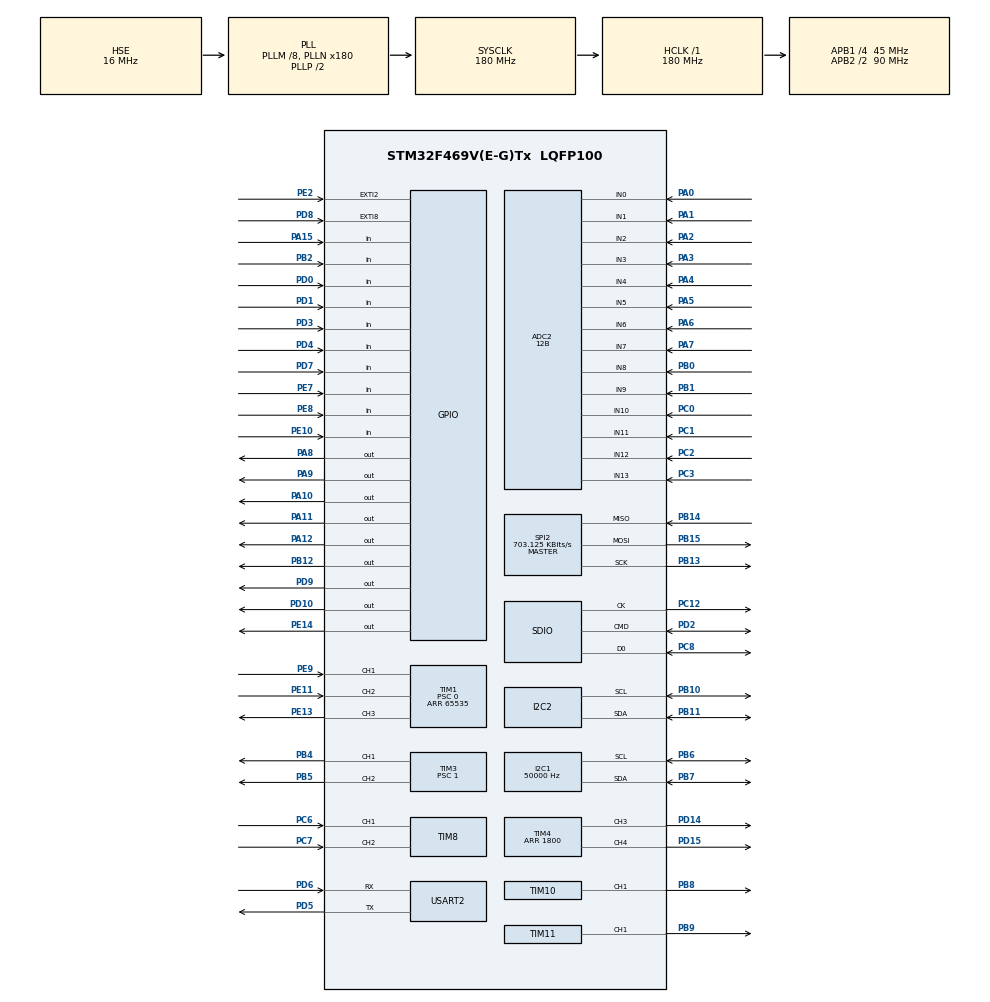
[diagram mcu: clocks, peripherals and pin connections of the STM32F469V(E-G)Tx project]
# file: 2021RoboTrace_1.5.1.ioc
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ADC2.Channel-0\#ChannelRegularConversion=ADC_CHANNEL_10
ADC2.Channel-1\#ChannelRegularConversion=ADC_CHANNEL_11
ADC2.Channel-10\#ChannelRegularConversion=ADC_CHANNEL_6
ADC2.Channel-11\#ChannelRegularConversion=ADC_CHANNEL_7
ADC2.Channel-12\#ChannelRegularConversion=ADC_CHANNEL_8
ADC2.Channel-13\#ChannelRegularConversion=ADC_CHANNEL_9
ADC2.Channel-2\#ChannelRegularConversion=ADC_CHANNEL_12
ADC2.Channel-3\#ChannelRegularConversion=ADC_CHANNEL_13
ADC2.Channel-4\#ChannelRegularConversion=ADC_CHANNEL_0
ADC2.Channel-5\#ChannelRegularConversion=ADC_CHANNEL_1
ADC2.Channel-6\#ChannelRegularConversion=ADC_CHANNEL_2
ADC2.Channel-7\#ChannelRegularConversion=ADC_CHANNEL_3
ADC2.Channel-8\#ChannelRegularConversion=ADC_CHANNEL_4
ADC2.Channel-9\#ChannelRegularConversion=ADC_CHANNEL_5
ADC2.ClockPrescaler=ADC_CLOCK_SYNC_PCLK_DIV4
ADC2.ContinuousConvMode=ENABLE
ADC2.DMAContinuousRequests=ENABLE
ADC2.NbrOfConversion=14
ADC2.NbrOfConversionFlag=1
ADC2.Rank-0\#ChannelRegularConversion=1
ADC2.Rank-1\#ChannelRegularConversion=2
ADC2.Rank-10\#ChannelRegularConversion=11
ADC2.Rank-11\#ChannelRegularConversion=12
ADC2.Rank-12\#ChannelRegularConversion=13
ADC2.Rank-13\#ChannelRegularConversion=14
ADC2.Rank-2\#ChannelRegularConversion=3
ADC2.Rank-3\#ChannelRegularConversion=4
ADC2.Rank-4\#ChannelRegularConversion=5
ADC2.Rank-5\#ChannelRegularConversion=6
ADC2.Rank-6\#ChannelRegularConversion=7
ADC2.Rank-7\#ChannelRegularConversion=8
ADC2.Rank-8\#ChannelRegularConversion=9
ADC2.Rank-9\#ChannelRegularConversion=10
ADC2.Resolution=ADC_RESOLUTION_12B
ADC2.SamplingTime-0\#ChannelRegularConversion=ADC_SAMPLETIME_144CYCLES
ADC2.SamplingTime-1\#ChannelRegularConversion=ADC_SAMPLETIME_144CYCLES
ADC2.SamplingTime-10\#ChannelRegularConversion=ADC_SAMPLETIME_144CYCLES
ADC2.SamplingTime-11\#ChannelRegularConversion=ADC_SAMPLETIME_144CYCLES
ADC2.SamplingTime-12\#ChannelRegularConversion=ADC_SAMPLETIME_144CYCLES
ADC2.SamplingTime-13\#ChannelRegularConversion=ADC_SAMPLETIME_144CYCLES
ADC2.SamplingTime-2\#ChannelRegularConversion=ADC_SAMPLETIME_144CYCLES
ADC2.SamplingTime-3\#ChannelRegularConversion=ADC_SAMPLETIME_144CYCLES
ADC2.SamplingTime-4\#ChannelRegularConversion=ADC_SAMPLETIME_144CYCLES
ADC2.SamplingTime-5\#ChannelRegularConversion=ADC_SAMPLETIME_144CYCLES
ADC2.SamplingTime-6\#ChannelRegularConversion=ADC_SAMPLETIME_144CYCLES
ADC2.SamplingTime-7\#ChannelRegularConversion=ADC_SAMPLETIME_144CYCLES
ADC2.SamplingTime-8\#ChannelRegularConversion=ADC_SAMPLETIME_144CYCLES
ADC2.SamplingTime-9\#ChannelRegularConversion=ADC_SAMPLETIME_144CYCLES
Dma.ADC2.2.Direction=DMA_PERIPH_TO_MEMORY
Dma.ADC2.2.FIFOMode=DMA_FIFOMODE_DISABLE
Dma.ADC2.2.Instance=DMA2_Stream2
Dma.ADC2.2.MemDataAlignment=DMA_MDATAALIGN_HALFWORD
Dma.ADC2.2.MemInc=DMA_MINC_ENABLE
Dma.ADC2.2.Mode=DMA_CIRCULAR
Dma.ADC2.2.PeriphDataAlignment=DMA_PDATAALIGN_HALFWORD
Dma.ADC2.2.PeriphInc=DMA_PINC_DISABLE
Dma.ADC2.2.Priority=DMA_PRIORITY_MEDIUM
Dma.Request0=SDIO_RX
Dma.Request1=SDIO_TX
Dma.Request2=ADC2
Dma.SDIO_RX.0.Direction=DMA_PERIPH_TO_MEMORY
Dma.SDIO_RX.0.FIFOMode=DMA_FIFOMODE_ENABLE
Dma.SDIO_RX.0.FIFOThreshold=DMA_FIFO_THRESHOLD_FULL
Dma.SDIO_RX.0.Instance=DMA2_Stream3
Dma.SDIO_RX.0.MemBurst=DMA_MBURST_INC4
Dma.SDIO_RX.0.MemDataAlignment=DMA_MDATAALIGN_WORD
Dma.SDIO_RX.0.MemInc=DMA_MINC_ENABLE
Dma.SDIO_RX.0.Mode=DMA_PFCTRL
Dma.SDIO_RX.0.PeriphBurst=DMA_PBURST_INC4
Dma.SDIO_RX.0.PeriphDataAlignment=DMA_PDATAALIGN_WORD
Dma.SDIO_RX.0.PeriphInc=DMA_PINC_DISABLE
Dma.SDIO_RX.0.Priority=DMA_PRIORITY_VERY_HIGH
Dma.SDIO_TX.1.Direction=DMA_MEMORY_TO_PERIPH
Dma.SDIO_TX.1.FIFOMode=DMA_FIFOMODE_ENABLE
Dma.SDIO_TX.1.FIFOThreshold=DMA_FIFO_THRESHOLD_FULL
Dma.SDIO_TX.1.Instance=DMA2_Stream6
Dma.SDIO_TX.1.MemBurst=DMA_MBURST_INC4
Dma.SDIO_TX.1.MemDataAlignment=DMA_MDATAALIGN_WORD
Dma.SDIO_TX.1.MemInc=DMA_MINC_ENABLE
Dma.SDIO_TX.1.Mode=DMA_PFCTRL
Dma.SDIO_TX.1.PeriphBurst=DMA_PBURST_INC4
Dma.SDIO_TX.1.PeriphDataAlignment=DMA_PDATAALIGN_WORD
Dma.SDIO_TX.1.PeriphInc=DMA_PINC_DISABLE
Dma.SDIO_TX.1.Priority=DMA_PRIORITY_VERY_HIGH
FATFS.BSP.number=1
FATFS.USE_DMA_CODE_SD=1
FATFS._FS_NORTC=1
FATFS._FS_RPATH=1
FATFS._FS_TIMEOUT=100
FATFS._MAX_SS=4096
FATFS._MIN_SS=512
FATFS._NORTC_MDAY=10
FATFS._NORTC_MON=10
FATFS._NORTC_YEAR=1999
FATFS._USE_CHMOD=1
FATFS._USE_LFN=1
FATFS._USE_MKFS=0
FATFS._USE_STRFUNC=1
FATFS0.BSP.STBoard=false
FATFS0.BSP.api=Unknown
FATFS0.BSP.i2caddr=0
FATFS0.BSP.instance=PA15
FATFS0.BSP.ip=GPIO
FATFS0.BSP.mode=Input
FATFS0.BSP.name=Detect_SDIO
FATFS0.BSP.solution=PA15
I2C1.ClockSpeed=50000
I2C1.NoStretchMode=I2C_NOSTRETCH_ENABLE
I2C2.NoStretchMode=I2C_NOSTRETCH_ENABLE
Mcu.Family=STM32F4
Mcu.Name=STM32F469V(E-G)Tx
Mcu.Package=LQFP100
NVIC.DMA2_Stream2_IRQn=true\:0\:0\:false\:false\:true\:false\:true
NVIC.DMA2_Stream3_IRQn=true\:0\:0\:false\:false\:true\:false\:true
NVIC.DMA2_Stream6_IRQn=true\:0\:0\:false\:false\:true\:false\:true
NVIC.EXTI2_IRQn=true\:0\:0\:false\:false\:true\:true\:true
NVIC.EXTI9_5_IRQn=true\:0\:0\:false\:false\:true\:true\:true
NVIC.I2C1_ER_IRQn=true\:0\:0\:false\:false\:true\:true\:true
NVIC.I2C1_EV_IRQn=true\:0\:0\:false\:false\:true\:true\:true
NVIC.PriorityGroup=NVIC_PRIORITYGROUP_4
NVIC.SDIO_IRQn=true\:0\:0\:false\:false\:true\:true\:true
NVIC.TIM6_DAC_IRQn=true\:1\:0\:true\:false\:true\:true\:true
NVIC.TIM7_IRQn=true\:0\:0\:false\:false\:true\:true\:true
NVIC.TIM8_UP_TIM13_IRQn=true\:0\:0\:false\:false\:true\:true\:true
PA0/WKUP.Signal=ADCx_IN0
PA1.Signal=ADCx_IN1
PA10.Signal=GPIO_Output
PA11.Signal=GPIO_Output
PA12.Signal=GPIO_Output
PA13.Mode=Trace_Asynchronous_SW
PA13.Signal=SYS_JTMS-SWDIO
PA14.Mode=Trace_Asynchronous_SW
PA14.Signal=SYS_JTCK-SWCLK
PA15.GPIO_Mode=GPIO_MODE_INPUT
PA15.Signal=GPIO_Input
PA2.Signal=ADCx_IN2
PA3.Signal=ADCx_IN3
PA4.Signal=ADCx_IN4
PA5.Signal=ADCx_IN5
PA6.Signal=ADCx_IN6
PA7.Signal=ADCx_IN7
PA8.Signal=GPIO_Output
PA9.Signal=GPIO_Output
PB0.Signal=ADCx_IN8
PB1.Signal=ADCx_IN9
PB10.Mode=I2C
PB10.Signal=I2C2_SCL
PB11.Mode=I2C
PB11.Signal=I2C2_SDA
PB12.Signal=GPIO_Output
PB13.Mode=Full_Duplex_Master
PB13.Signal=SPI2_SCK
PB14.Mode=Full_Duplex_Master
PB14.Signal=SPI2_MISO
PB15.Mode=Full_Duplex_Master
PB15.Signal=SPI2_MOSI
PB2/BOOT1.GPIO_PuPd=GPIO_PULLUP
PB2/BOOT1.Signal=GPIO_Input
PB3.Mode=Trace_Asynchronous_SW
PB3.Signal=SYS_JTDO-SWO
PB4.Signal=S_TIM3_CH1
PB5.Signal=S_TIM3_CH2
PB6.Mode=I2C
PB6.Signal=I2C1_SCL
PB7.Mode=I2C
PB7.Signal=I2C1_SDA
PB8.Signal=S_TIM10_CH1
PB9.Signal=S_TIM11_CH1
PC0.Signal=ADCx_IN10
PC1.Signal=ADCx_IN11
PC10.Signal=SDIO_D2
PC11.Signal=SDIO_D3
PC12.Mode=SD_1_bit
PC12.Signal=SDIO_CK
PC2.Signal=ADCx_IN12
PC3.Signal=ADCx_IN13
PC6.Signal=S_TIM8_CH1
PC7.Signal=S_TIM8_CH2
PC8.Mode=SD_1_bit
PC8.Signal=SDIO_D0
PC9.Signal=SDIO_D1
PD0.GPIO_PuPd=GPIO_PULLUP
PD0.Signal=GPIO_Input
PD1.GPIO_PuPd=GPIO_PULLUP
PD1.Signal=GPIO_Input
PD10.GPIO_PuPd=GPIO_PULLUP
PD10.Signal=GPIO_Output
PD14.Signal=S_TIM4_CH3
PD15.Signal=S_TIM4_CH4
PD2.Mode=SD_1_bit
PD2.Signal=SDIO_CMD
PD3.GPIO_PuPd=GPIO_PULLUP
PD3.Signal=GPIO_Input
PD4.GPIO_PuPd=GPIO_PULLUP
PD4.Signal=GPIO_Input
PD5.Mode=Asynchronous
PD5.Signal=USART2_TX
PD6.Mode=Asynchronous
PD6.Signal=USART2_RX
PD7.GPIO_PuPd=GPIO_PULLUP
PD7.Signal=GPIO_Input
PD8.GPIO_ModeDefaultEXTI=GPIO_MODE_IT_RISING_FALLING
PD8.Signal=GPXTI8
PD9.Signal=GPIO_Output
PE10.GPIO_PuPd=GPIO_PULLUP
PE10.Signal=GPIO_Input
PE11.Signal=S_TIM1_CH2
PE13.Signal=S_TIM1_CH3
PE14.Signal=GPIO_Output
PE2.GPIO_ModeDefaultEXTI=GPIO_MODE_IT_RISING_FALLING
PE2.Signal=GPXTI2
PE7.GPIO_PuPd=GPIO_PULLUP
PE7.Signal=GPIO_Input
PE8.GPIO_PuPd=GPIO_PULLUP
PE8.Signal=GPIO_Input
PE9.Signal=S_TIM1_CH1
PH0/OSC_IN.Mode=HSE-External-Oscillator
PH0/OSC_IN.Signal=RCC_OSC_IN
PH1/OSC_OUT.Mode=HSE-External-Oscillator
PH1/OSC_OUT.Signal=RCC_OSC_OUT
ProjectManager.HeapSize=0x400
ProjectManager.StackSize=0x800
ProjectManager.TargetToolchain=STM32CubeIDE
RCC.AHBFreq_Value=180000000
RCC.APB1CLKDivider=RCC_HCLK_DIV4
RCC.APB1Freq_Value=45000000
RCC.APB1TimFreq_Value=90000000
RCC.APB2CLKDivider=RCC_HCLK_DIV2
RCC.APB2Freq_Value=90000000
RCC.APB2TimFreq_Value=180000000
RCC.CortexFreq_Value=180000000
RCC.HCLKFreq_Value=180000000
RCC.HSE_VALUE=16000000
RCC.PLLM=8
RCC.PLLN=180
RCC.PLLQ=8
RCC.PLLSourceVirtual=RCC_PLLSOURCE_HSE
RCC.SYSCLKFreq_VALUE=180000000
RCC.SYSCLKSource=RCC_SYSCLKSOURCE_PLLCLK
RCC.USBFreq_Value=45000000
RCC.VCOOutputFreq_Value=360000000
SDIO.ClockBypass=SDIO_CLOCK_BYPASS_DISABLE
SDIO.ClockDiv=2
SDIO.ClockEdge=SDIO_CLOCK_EDGE_RISING
SDIO.ClockPowerSave=SDIO_CLOCK_POWER_SAVE_DISABLE
SDIO.HardwareFlowControl=SDIO_HARDWARE_FLOW_CONTROL_DISABLE
SH.ADCx_IN0.0=ADC1_IN0
SH.ADCx_IN0.1=ADC2_IN0,IN0
SH.ADCx_IN1.0=ADC2_IN1,IN1
SH.ADCx_IN10.0=ADC1_IN10
SH.ADCx_IN10.1=ADC2_IN10,IN10
SH.ADCx_IN11.0=ADC1_IN11
SH.ADCx_IN11.1=ADC2_IN11,IN11
SH.ADCx_IN12.0=ADC1_IN12
SH.ADCx_IN12.1=ADC2_IN12,IN12
SH.ADCx_IN13.0=ADC1_IN13
SH.ADCx_IN13.1=ADC2_IN13,IN13
SH.ADCx_IN2.0=ADC2_IN2,IN2
SH.ADCx_IN3.0=ADC2_IN3,IN3
SH.ADCx_IN4.0=ADC2_IN4,IN4
SH.ADCx_IN5.0=ADC1_IN5
SH.ADCx_IN5.1=ADC2_IN5,IN5
SH.ADCx_IN6.0=ADC1_IN6
SH.ADCx_IN6.1=ADC2_IN6,IN6
SH.ADCx_IN7.0=ADC1_IN7
SH.ADCx_IN7.1=ADC2_IN7,IN7
SH.ADCx_IN8.0=ADC1_IN8
SH.ADCx_IN8.1=ADC2_IN8,IN8
SH.ADCx_IN9.0=ADC1_IN9
SH.ADCx_IN9.1=ADC2_IN9,IN9
SH.S_TIM10_CH1.0=TIM10_CH1,PWM Generation1 CH1
SH.S_TIM11_CH1.0=TIM11_CH1,PWM Generation1 CH1
SH.S_TIM1_CH1.0=TIM1_CH1,Encoder_Interface
SH.S_TIM1_CH2.0=TIM1_CH2,Encoder_Interface
SH.S_TIM1_CH3.0=TIM1_CH3,PWM Generation3 CH3
SH.S_TIM3_CH1.0=TIM3_CH1,PWM Generation1 CH1
SH.S_TIM3_CH2.0=TIM3_CH2,PWM Generation2 CH2
SH.S_TIM4_CH3.0=TIM4_CH3,PWM Generation3 CH3
SH.S_TIM4_CH4.0=TIM4_CH4,PWM Generation4 CH4
SH.S_TIM8_CH1.0=TIM8_CH1,Encoder_Interface
SH.S_TIM8_CH2.0=TIM8_CH2,Encoder_Interface
SPI2.BaudRatePrescaler=SPI_BAUDRATEPRESCALER_64
SPI2.CLKPhase=SPI_PHASE_2EDGE
SPI2.CLKPolarity=SPI_POLARITY_HIGH
SPI2.CalculateBaudRate=703.125 KBits/s
SPI2.Direction=SPI_DIRECTION_2LINES
SPI2.Mode=SPI_MODE_MASTER
SPI2.VirtualType=VM_MASTER
TIM1.Channel-PWM\ Generation3\ CH3=TIM_CHANNEL_3
TIM1.EncoderMode=TIM_ENCODERMODE_TI12
TIM1.Period=65535
TIM1.Prescaler=0
TIM10.Channel=TIM_CHANNEL_1
TIM10.Period=8999
TIM10.Prescaler=1
TIM11.Channel=TIM_CHANNEL_1
TIM11.Period=8999
TIM11.Prescaler=1
TIM13.AutoReloadPreload=TIM_AUTORELOAD_PRELOAD_ENABLE
TIM13.Period=9999
TIM13.Prescaler=89
TIM3.Channel-PWM\ Generation1\ CH1=TIM_CHANNEL_1
TIM3.Channel-PWM\ Generation2\ CH2=TIM_CHANNEL_2
TIM3.Period=4499
TIM3.Prescaler=1
TIM4.Channel-PWM\ Generation3\ CH3=TIM_CHANNEL_3
TIM4.Channel-PWM\ Generation4\ CH4=TIM_CHANNEL_4
TIM4.Period=1800
TIM6.AutoReloadPreload=TIM_AUTORELOAD_PRELOAD_ENABLE
TIM6.Period=999
TIM6.Prescaler=89
TIM7.AutoReloadPreload=TIM_AUTORELOAD_PRELOAD_ENABLE
TIM7.Period=49
TIM7.Prescaler=179
TIM8.CounterMode=TIM_COUNTERMODE_DOWN
TIM8.EncoderMode=TIM_ENCODERMODE_TI12
USART2.VirtualMode=VM_ASYNC
VP_FATFS_VS_SDIO.Mode=SDIO
VP_TIM10_VS_ClockSourceINT.Mode=Enable_Timer
VP_TIM11_VS_ClockSourceINT.Mode=Enable_Timer
VP_TIM13_VS_ClockSourceINT.Mode=Enable_Timer
VP_TIM6_VS_ClockSourceINT.Mode=Enable_Timer
VP_TIM7_VS_ClockSourceINT.Mode=Enable_Timer
board=custom

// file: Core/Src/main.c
/* USER CODE BEGIN Header */
/**
  ******************************************************************************
  * @file           : main.c
  * @brief          : Main program body
  ******************************************************************************
  * @attention
  *
  * <h2><center>&copy; Copyright (c) 2021 STMicroelectronics.
  * All rights reserved.</center></h2>
  *
  * This software component is licensed by ST under BSD 3-Clause license,
  * the "License"; You may not use this file except in compliance with the
  * License. You may obtain a copy of the License at:
  *                        opensource.org/licenses/BSD-3-Clause
  *
  ******************************************************************************
  */
/* USER CODE END Header */
#include "main.h"
#include "fatfs.h"

/* USER CODE BEGIN Includes */
#include "wrapper.hpp"
//#include "path_following.h"
//#include "rtwtypes.h"

/* USER CODE END Includes */

ADC_HandleTypeDef hadc2;
DMA_HandleTypeDef hdma_adc2;

I2C_HandleTypeDef hi2c1;
I2C_HandleTypeDef hi2c2;

SD_HandleTypeDef hsd;
DMA_HandleTypeDef hdma_sdio_rx;
DMA_HandleTypeDef hdma_sdio_tx;

SPI_HandleTypeDef hspi2;

TIM_HandleTypeDef htim1;
TIM_HandleTypeDef htim3;
TIM_HandleTypeDef htim4;
TIM_HandleTypeDef htim6;
TIM_HandleTypeDef htim7;
TIM_HandleTypeDef htim8;
TIM_HandleTypeDef htim10;
TIM_HandleTypeDef htim11;
TIM_HandleTypeDef htim13;

UART_HandleTypeDef huart2;

/* USER CODE BEGIN PV */

uint32_t tim6_timer, tim7_timer, tim13_timer;

/* USER CODE END PV */

void SystemClock_Config(void);
static void MX_GPIO_Init(void);
static void MX_DMA_Init(void);
static void MX_I2C2_Init(void);
static void MX_SDIO_SD_Init(void);
static void MX_SPI2_Init(void);
static void MX_TIM1_Init(void);
static void MX_TIM4_Init(void);
static void MX_TIM8_Init(void);
static void MX_USART2_UART_Init(void);
static void MX_TIM6_Init(void);
static void MX_I2C1_Init(void);
static void MX_TIM3_Init(void);
static void MX_TIM10_Init(void);
static void MX_TIM11_Init(void);
static void MX_ADC2_Init(void);
static void MX_TIM7_Init(void);
static void MX_TIM13_Init(void);

/* USER CODE BEGIN 0 */

int _write(int file, char *ptr, int len)
{
  int DataIdx;
  for(DataIdx=0; DataIdx<len; DataIdx++)
  {
    ITM_SendChar(*ptr++);
  }
  return len;
}

void HAL_GPIO_EXTI_Callback(uint16_t GPIO_Pin)
{
	cppExit(GPIO_Pin);
}

void HAL_TIM_PeriodElapsedCallback(TIM_HandleTypeDef *htim)
{
	if(htim->Instance == TIM7){
		cppFlip100ns();

		tim7_timer++;
		if(tim7_timer >= 100000) tim7_timer = 0;
	}

	if(htim->Instance == TIM6){
		cppFlip1ms();

		tim6_timer++;
		if(tim6_timer >= 100000) tim6_timer = 0;
	}

	if(htim->Instance == TIM13){
		cppFlip10ms();

		tim13_timer++;
		if(tim13_timer >= 100000) tim13_timer = 0;
	}

}

void init()
{
	// ------initialize------//
	HAL_GPIO_WritePin(GPIOE, GPIO_PIN_14, GPIO_PIN_SET); // sensor led ON

	// timer interrpt in start
	HAL_TIM_Base_Start_IT(&htim6);
	HAL_TIM_Base_Start_IT(&htim7);
	HAL_TIM_Base_Start_IT(&htim13);

	cppInit();

	//path_following_initialize();

}

/* USER CODE END 0 */

int main(void)
{

  /* MCU Configuration--------------------------------------------------------*/

  /* Reset of all peripherals, Initializes the Flash interface and the Systick. */
  HAL_Init();

  /* Configure the system clock */
  SystemClock_Config();

  /* Initialize all configured peripherals */
  MX_GPIO_Init();
  MX_DMA_Init();
  MX_I2C2_Init();
  MX_SDIO_SD_Init();
  MX_SPI2_Init();
  MX_TIM1_Init();
  MX_TIM4_Init();
  MX_TIM8_Init();
  MX_USART2_UART_Init();
  MX_FATFS_Init();
  MX_TIM6_Init();
  MX_I2C1_Init();
  MX_TIM3_Init();
  MX_TIM10_Init();
  MX_TIM11_Init();
  MX_ADC2_Init();
  MX_TIM7_Init();
  MX_TIM13_Init();
  /* USER CODE BEGIN 2 */

  init();

  /* USER CODE END 2 */

  /* Infinite loop */
  /* USER CODE BEGIN WHILE */

  while (1)
  {
	  cppLoop();
    /* USER CODE END WHILE */

  }
}

void SystemClock_Config(void)
{
  RCC_OscInitTypeDef RCC_OscInitStruct = {0};
  RCC_ClkInitTypeDef RCC_ClkInitStruct = {0};
  RCC_PeriphCLKInitTypeDef PeriphClkInitStruct = {0};

  /** Configure the main internal regulator output voltage
  */
  __HAL_RCC_PWR_CLK_ENABLE();
  __HAL_PWR_VOLTAGESCALING_CONFIG(PWR_REGULATOR_VOLTAGE_SCALE1);
  /** Initializes the RCC Oscillators according to the specified parameters
  * in the RCC_OscInitTypeDef structure.
  */
  RCC_OscInitStruct.OscillatorType = RCC_OSCILLATORTYPE_HSE;
  RCC_OscInitStruct.HSEState = RCC_HSE_ON;
  RCC_OscInitStruct.PLL.PLLState = RCC_PLL_ON;
  RCC_OscInitStruct.PLL.PLLSource = RCC_PLLSOURCE_HSE;
  RCC_OscInitStruct.PLL.PLLM = 8;
  RCC_OscInitStruct.PLL.PLLN = 180;
  RCC_OscInitStruct.PLL.PLLP = RCC_PLLP_DIV2;
  RCC_OscInitStruct.PLL.PLLQ = 8;
  RCC_OscInitStruct.PLL.PLLR = 2;
  if (HAL_RCC_OscConfig(&RCC_OscInitStruct) != HAL_OK)
  {
    Error_Handler();
  }
  /** Activate the Over-Drive mode
  */
  if (HAL_PWREx_EnableOverDrive() != HAL_OK)
  {
    Error_Handler();
  }
  /** Initializes the CPU, AHB and APB buses clocks
  */
  RCC_ClkInitStruct.ClockType = RCC_CLOCKTYPE_HCLK|RCC_CLOCKTYPE_SYSCLK
                              |RCC_CLOCKTYPE_PCLK1|RCC_CLOCKTYPE_PCLK2;
  RCC_ClkInitStruct.SYSCLKSource = RCC_SYSCLKSOURCE_PLLCLK;
  RCC_ClkInitStruct.AHBCLKDivider = RCC_SYSCLK_DIV1;
  RCC_ClkInitStruct.APB1CLKDivider = RCC_HCLK_DIV4;
  RCC_ClkInitStruct.APB2CLKDivider = RCC_HCLK_DIV2;

  if (HAL_RCC_ClockConfig(&RCC_ClkInitStruct, FLASH_LATENCY_5) != HAL_OK)
  {
    Error_Handler();
  }
  PeriphClkInitStruct.PeriphClockSelection = RCC_PERIPHCLK_SDIO|RCC_PERIPHCLK_CLK48;
  PeriphClkInitStruct.Clk48ClockSelection = RCC_CLK48CLKSOURCE_PLLQ;
  PeriphClkInitStruct.SdioClockSelection = RCC_SDIOCLKSOURCE_CLK48;
  if (HAL_RCCEx_PeriphCLKConfig(&PeriphClkInitStruct) != HAL_OK)
  {
    Error_Handler();
  }
}

static void MX_ADC2_Init(void)
{

  ADC_ChannelConfTypeDef sConfig = {0};

  /** Configure the global features of the ADC (Clock, Resolution, Data Alignment and number of conversion)
  */
  hadc2.Instance = ADC2;
  hadc2.Init.ClockPrescaler = ADC_CLOCK_SYNC_PCLK_DIV4;
  hadc2.Init.Resolution = ADC_RESOLUTION_12B;
  hadc2.Init.ScanConvMode = ENABLE;
  hadc2.Init.ContinuousConvMode = ENABLE;
  hadc2.Init.DiscontinuousConvMode = DISABLE;
  hadc2.Init.ExternalTrigConvEdge = ADC_EXTERNALTRIGCONVEDGE_NONE;
  hadc2.Init.ExternalTrigConv = ADC_SOFTWARE_START;
  hadc2.Init.DataAlign = ADC_DATAALIGN_RIGHT;
  hadc2.Init.NbrOfConversion = 14;
  hadc2.Init.DMAContinuousRequests = ENABLE;
  hadc2.Init.EOCSelection = ADC_EOC_SINGLE_CONV;
  if (HAL_ADC_Init(&hadc2) != HAL_OK)
  {
    Error_Handler();
  }
  /** Configure for the selected ADC regular channel its corresponding rank in the sequencer and its sample time.
  */
  sConfig.Channel = ADC_CHANNEL_10;
  sConfig.Rank = 1;
  sConfig.SamplingTime = ADC_SAMPLETIME_144CYCLES;
  if (HAL_ADC_ConfigChannel(&hadc2, &sConfig) != HAL_OK)
  {
    Error_Handler();
  }
  /** Configure for the selected ADC regular channel its corresponding rank in the sequencer and its sample time.
  */
  sConfig.Channel = ADC_CHANNEL_11;
  sConfig.Rank = 2;
  if (HAL_ADC_ConfigChannel(&hadc2, &sConfig) != HAL_OK)
  {
    Error_Handler();
  }
  /** Configure for the selected ADC regular channel its corresponding rank in the sequencer and its sample time.
  */
  sConfig.Channel = ADC_CHANNEL_12;
  sConfig.Rank = 3;
  if (HAL_ADC_ConfigChannel(&hadc2, &sConfig) != HAL_OK)
  {
    Error_Handler();
  }
  /** Configure for the selected ADC regular channel its corresponding rank in the sequencer and its sample time.
  */
  sConfig.Channel = ADC_CHANNEL_13;
  sConfig.Rank = 4;
  if (HAL_ADC_ConfigChannel(&hadc2, &sConfig) != HAL_OK)
  {
    Error_Handler();
  }
  /** Configure for the selected ADC regular channel its corresponding rank in the sequencer and its sample time.
  */
  sConfig.Channel = ADC_CHANNEL_0;
  sConfig.Rank = 5;
  if (HAL_ADC_ConfigChannel(&hadc2, &sConfig) != HAL_OK)
  {
    Error_Handler();
  }
  /** Configure for the selected ADC regular channel its corresponding rank in the sequencer and its sample time.
  */
  sConfig.Channel = ADC_CHANNEL_1;
  sConfig.Rank = 6;
  if (HAL_ADC_ConfigChannel(&hadc2, &sConfig) != HAL_OK)
  {
    Error_Handler();
  }
  /** Configure for the selected ADC regular channel its corresponding rank in the sequencer and its sample time.
  */
  sConfig.Channel = ADC_CHANNEL_2;
  sConfig.Rank = 7;
  if (HAL_ADC_ConfigChannel(&hadc2, &sConfig) != HAL_OK)
  {
    Error_Handler();
  }
  /** Configure for the selected ADC regular channel its corresponding rank in the sequencer and its sample time.
  */
  sConfig.Channel = ADC_CHANNEL_3;
  sConfig.Rank = 8;
  if (HAL_ADC_ConfigChannel(&hadc2, &sConfig) != HAL_OK)
  {
    Error_Handler();
  }
  /** Configure for the selected ADC regular channel its corresponding rank in the sequencer and its sample time.
  */
  sConfig.Channel = ADC_CHANNEL_4;
  sConfig.Rank = 9;
  if (HAL_ADC_ConfigChannel(&hadc2, &sConfig) != HAL_OK)
  {
    Error_Handler();
  }
  /** Configure for the selected ADC regular channel its corresponding rank in the sequencer and its sample time.
  */
  sConfig.Channel = ADC_CHANNEL_5;
  sConfig.Rank = 10;
  if (HAL_ADC_ConfigChannel(&hadc2, &sConfig) != HAL_OK)
  {
    Error_Handler();
  }
  /** Configure for the selected ADC regular channel its corresponding rank in the sequencer and its sample time.
  */
  sConfig.Channel = ADC_CHANNEL_6;
  sConfig.Rank = 11;
  if (HAL_ADC_ConfigChannel(&hadc2, &sConfig) != HAL_OK)
  {
    Error_Handler();
  }
  /** Configure for the selected ADC regular channel its corresponding rank in the sequencer and its sample time.
  */
  sConfig.Channel = ADC_CHANNEL_7;
  sConfig.Rank = 12;
  if (HAL_ADC_ConfigChannel(&hadc2, &sConfig) != HAL_OK)
  {
    Error_Handler();
  }
  /** Configure for the selected ADC regular channel its corresponding rank in the sequencer and its sample time.
  */
  sConfig.Channel = ADC_CHANNEL_8;
  sConfig.Rank = 13;
  if (HAL_ADC_ConfigChannel(&hadc2, &sConfig) != HAL_OK)
  {
    Error_Handler();
  }
  /** Configure for the selected ADC regular channel its corresponding rank in the sequencer and its sample time.
  */
  sConfig.Channel = ADC_CHANNEL_9;
  sConfig.Rank = 14;
  if (HAL_ADC_ConfigChannel(&hadc2, &sConfig) != HAL_OK)
  {
    Error_Handler();
  }

}

static void MX_I2C1_Init(void)
{

  hi2c1.Instance = I2C1;
  hi2c1.Init.ClockSpeed = 50000;
  hi2c1.Init.DutyCycle = I2C_DUTYCYCLE_2;
  hi2c1.Init.OwnAddress1 = 0;
  hi2c1.Init.AddressingMode = I2C_ADDRESSINGMODE_7BIT;
  hi2c1.Init.DualAddressMode = I2C_DUALADDRESS_DISABLE;
  hi2c1.Init.OwnAddress2 = 0;
  hi2c1.Init.GeneralCallMode = I2C_GENERALCALL_DISABLE;
  hi2c1.Init.NoStretchMode = I2C_NOSTRETCH_ENABLE;
  if (HAL_I2C_Init(&hi2c1) != HAL_OK)
  {
    Error_Handler();
  }

}

static void MX_I2C2_Init(void)
{

  hi2c2.Instance = I2C2;
  hi2c2.Init.ClockSpeed = 100000;
  hi2c2.Init.DutyCycle = I2C_DUTYCYCLE_2;
  hi2c2.Init.OwnAddress1 = 0;
  hi2c2.Init.AddressingMode = I2C_ADDRESSINGMODE_7BIT;
  hi2c2.Init.DualAddressMode = I2C_DUALADDRESS_DISABLE;
  hi2c2.Init.OwnAddress2 = 0;
  hi2c2.Init.GeneralCallMode = I2C_GENERALCALL_DISABLE;
  hi2c2.Init.NoStretchMode = I2C_NOSTRETCH_ENABLE;
  if (HAL_I2C_Init(&hi2c2) != HAL_OK)
  {
    Error_Handler();
  }

}

static void MX_SDIO_SD_Init(void)
{

  hsd.Instance = SDIO;
  hsd.Init.ClockEdge = SDIO_CLOCK_EDGE_RISING;
  hsd.Init.ClockBypass = SDIO_CLOCK_BYPASS_DISABLE;
  hsd.Init.ClockPowerSave = SDIO_CLOCK_POWER_SAVE_DISABLE;
  hsd.Init.BusWide = SDIO_BUS_WIDE_1B;
  hsd.Init.HardwareFlowControl = SDIO_HARDWARE_FLOW_CONTROL_DISABLE;
  hsd.Init.ClockDiv = 2;

}

static void MX_SPI2_Init(void)
{

  /* SPI2 parameter configuration*/
  hspi2.Instance = SPI2;
  hspi2.Init.Mode = SPI_MODE_MASTER;
  hspi2.Init.Direction = SPI_DIRECTION_2LINES;
  hspi2.Init.DataSize = SPI_DATASIZE_8BIT;
  hspi2.Init.CLKPolarity = SPI_POLARITY_HIGH;
  hspi2.Init.CLKPhase = SPI_PHASE_2EDGE;
  hspi2.Init.NSS = SPI_NSS_SOFT;
  hspi2.Init.BaudRatePrescaler = SPI_BAUDRATEPRESCALER_64;
  hspi2.Init.FirstBit = SPI_FIRSTBIT_MSB;
  hspi2.Init.TIMode = SPI_TIMODE_DISABLE;
  hspi2.Init.CRCCalculation = SPI_CRCCALCULATION_DISABLE;
  hspi2.Init.CRCPolynomial = 10;
  if (HAL_SPI_Init(&hspi2) != HAL_OK)
  {
    Error_Handler();
  }

}

static void MX_TIM1_Init(void)
{

  TIM_Encoder_InitTypeDef sConfig = {0};
  TIM_MasterConfigTypeDef sMasterConfig = {0};
  TIM_OC_InitTypeDef sConfigOC = {0};
  TIM_BreakDeadTimeConfigTypeDef sBreakDeadTimeConfig = {0};

  htim1.Instance = TIM1;
  htim1.Init.Prescaler = 0;
  htim1.Init.CounterMode = TIM_COUNTERMODE_UP;
  htim1.Init.Period = 65535;
  htim1.Init.ClockDivision = TIM_CLOCKDIVISION_DIV1;
  htim1.Init.RepetitionCounter = 0;
  htim1.Init.AutoReloadPreload = TIM_AUTORELOAD_PRELOAD_DISABLE;
  if (HAL_TIM_PWM_Init(&htim1) != HAL_OK)
  {
    Error_Handler();
  }
  sConfig.EncoderMode = TIM_ENCODERMODE_TI12;
  sConfig.IC1Polarity = TIM_ICPOLARITY_RISING;
  sConfig.IC1Selection = TIM_ICSELECTION_DIRECTTI;
  sConfig.IC1Prescaler = TIM_ICPSC_DIV1;
  sConfig.IC1Filter = 0;
  sConfig.IC2Polarity = TIM_ICPOLARITY_RISING;
  sConfig.IC2Selection = TIM_ICSELECTION_DIRECTTI;
  sConfig.IC2Prescaler = TIM_ICPSC_DIV1;
  sConfig.IC2Filter = 0;
  if (HAL_TIM_Encoder_Init(&htim1, &sConfig) != HAL_OK)
  {
    Error_Handler();
  }
  sMasterConfig.MasterOutputTrigger = TIM_TRGO_RESET;
  sMasterConfig.MasterSlaveMode = TIM_MASTERSLAVEMODE_DISABLE;
  if (HAL_TIMEx_MasterConfigSynchronization(&htim1, &sMasterConfig) != HAL_OK)
  {
    Error_Handler();
  }
  sConfigOC.OCMode = TIM_OCMODE_PWM1;
  sConfigOC.Pulse = 0;
  sConfigOC.OCPolarity = TIM_OCPOLARITY_HIGH;
  sConfigOC.OCNPolarity = TIM_OCNPOLARITY_HIGH;
  sConfigOC.OCFastMode = TIM_OCFAST_DISABLE;
  sConfigOC.OCIdleState = TIM_OCIDLESTATE_RESET;
  sConfigOC.OCNIdleState = TIM_OCNIDLESTATE_RESET;
  if (HAL_TIM_PWM_ConfigChannel(&htim1, &sConfigOC, TIM_CHANNEL_3) != HAL_OK)
  {
    Error_Handler();
  }
  sBreakDeadTimeConfig.OffStateRunMode = TIM_OSSR_DISABLE;
  sBreakDeadTimeConfig.OffStateIDLEMode = TIM_OSSI_DISABLE;
  sBreakDeadTimeConfig.LockLevel = TIM_LOCKLEVEL_OFF;
  sBreakDeadTimeConfig.DeadTime = 0;
  sBreakDeadTimeConfig.BreakState = TIM_BREAK_DISABLE;
  sBreakDeadTimeConfig.BreakPolarity = TIM_BREAKPOLARITY_HIGH;
  sBreakDeadTimeConfig.AutomaticOutput = TIM_AUTOMATICOUTPUT_DISABLE;
  if (HAL_TIMEx_ConfigBreakDeadTime(&htim1, &sBreakDeadTimeConfig) != HAL_OK)
  {
    Error_Handler();
  }
  HAL_TIM_MspPostInit(&htim1);

}

static void MX_TIM3_Init(void)
{

  TIM_MasterConfigTypeDef sMasterConfig = {0};
  TIM_OC_InitTypeDef sConfigOC = {0};

  htim3.Instance = TIM3;
  htim3.Init.Prescaler = 1;
  htim3.Init.CounterMode = TIM_COUNTERMODE_UP;
  htim3.Init.Period = 4499;
  htim3.Init.ClockDivision = TIM_CLOCKDIVISION_DIV1;
  htim3.Init.AutoReloadPreload = TIM_AUTORELOAD_PRELOAD_DISABLE;
  if (HAL_TIM_PWM_Init(&htim3) != HAL_OK)
  {
    Error_Handler();
  }
  sMasterConfig.MasterOutputTrigger = TIM_TRGO_RESET;
  sMasterConfig.MasterSlaveMode = TIM_MASTERSLAVEMODE_DISABLE;
  if (HAL_TIMEx_MasterConfigSynchronization(&htim3, &sMasterConfig) != HAL_OK)
  {
    Error_Handler();
  }
  sConfigOC.OCMode = TIM_OCMODE_PWM1;
  sConfigOC.Pulse = 0;
  sConfigOC.OCPolarity = TIM_OCPOLARITY_HIGH;
  sConfigOC.OCFastMode = TIM_OCFAST_DISABLE;
  if (HAL_TIM_PWM_ConfigChannel(&htim3, &sConfigOC, TIM_CHANNEL_1) != HAL_OK)
  {
    Error_Handler();
  }
  if (HAL_TIM_PWM_ConfigChannel(&htim3, &sConfigOC, TIM_CHANNEL_2) != HAL_OK)
  {
    Error_Handler();
  }
  HAL_TIM_MspPostInit(&htim3);

}

static void MX_TIM4_Init(void)
{

  TIM_MasterConfigTypeDef sMasterConfig = {0};
  TIM_OC_InitTypeDef sConfigOC = {0};

  htim4.Instance = TIM4;
  htim4.Init.Prescaler = 0;
  htim4.Init.CounterMode = TIM_COUNTERMODE_UP;
  htim4.Init.Period = 1800;
  htim4.Init.ClockDivision = TIM_CLOCKDIVISION_DIV1;
  htim4.Init.AutoReloadPreload = TIM_AUTORELOAD_PRELOAD_DISABLE;
  if (HAL_TIM_PWM_Init(&htim4) != HAL_OK)
  {
    Error_Handler();
  }
  sMasterConfig.MasterOutputTrigger = TIM_TRGO_RESET;
  sMasterConfig.MasterSlaveMode = TIM_MASTERSLAVEMODE_DISABLE;
  if (HAL_TIMEx_MasterConfigSynchronization(&htim4, &sMasterConfig) != HAL_OK)
  {
    Error_Handler();
  }
  sConfigOC.OCMode = TIM_OCMODE_PWM1;
  sConfigOC.Pulse = 0;
  sConfigOC.OCPolarity = TIM_OCPOLARITY_HIGH;
  sConfigOC.OCFastMode = TIM_OCFAST_DISABLE;
  if (HAL_TIM_PWM_ConfigChannel(&htim4, &sConfigOC, TIM_CHANNEL_3) != HAL_OK)
  {
    Error_Handler();
  }
  if (HAL_TIM_PWM_ConfigChannel(&htim4, &sConfigOC, TIM_CHANNEL_4) != HAL_OK)
  {
    Error_Handler();
  }
  HAL_TIM_MspPostInit(&htim4);

}

static void MX_TIM6_Init(void)
{

  TIM_MasterConfigTypeDef sMasterConfig = {0};

  htim6.Instance = TIM6;
  htim6.Init.Prescaler = 89;
  htim6.Init.CounterMode = TIM_COUNTERMODE_UP;
  htim6.Init.Period = 999;
  htim6.Init.AutoReloadPreload = TIM_AUTORELOAD_PRELOAD_ENABLE;
  if (HAL_TIM_Base_Init(&htim6) != HAL_OK)
  {
    Error_Handler();
  }
  sMasterConfig.MasterOutputTrigger = TIM_TRGO_RESET;
  sMasterConfig.MasterSlaveMode = TIM_MASTERSLAVEMODE_DISABLE;
  if (HAL_TIMEx_MasterConfigSynchronization(&htim6, &sMasterConfig) != HAL_OK)
  {
    Error_Handler();
  }

}

static void MX_TIM7_Init(void)
{

  TIM_MasterConfigTypeDef sMasterConfig = {0};

  htim7.Instance = TIM7;
  htim7.Init.Prescaler = 179;
  htim7.Init.CounterMode = TIM_COUNTERMODE_UP;
  htim7.Init.Period = 49;
  htim7.Init.AutoReloadPreload = TIM_AUTORELOAD_PRELOAD_ENABLE;
  if (HAL_TIM_Base_Init(&htim7) != HAL_OK)
  {
    Error_Handler();
  }
  sMasterConfig.MasterOutputTrigger = TIM_TRGO_RESET;
  sMasterConfig.MasterSlaveMode = TIM_MASTERSLAVEMODE_DISABLE;
  if (HAL_TIMEx_MasterConfigSynchronization(&htim7, &sMasterConfig) != HAL_OK)
  {
    Error_Handler();
  }

}

static void MX_TIM8_Init(void)
{

  TIM_Encoder_InitTypeDef sConfig = {0};
  TIM_MasterConfigTypeDef sMasterConfig = {0};

  htim8.Instance = TIM8;
  htim8.Init.Prescaler = 0;
  htim8.Init.CounterMode = TIM_COUNTERMODE_DOWN;
  htim8.Init.Period = 65535;
  htim8.Init.ClockDivision = TIM_CLOCKDIVISION_DIV1;
  htim8.Init.RepetitionCounter = 0;
  htim8.Init.AutoReloadPreload = TIM_AUTORELOAD_PRELOAD_DISABLE;
  sConfig.EncoderMode = TIM_ENCODERMODE_TI12;
  sConfig.IC1Polarity = TIM_ICPOLARITY_RISING;
  sConfig.IC1Selection = TIM_ICSELECTION_DIRECTTI;
  sConfig.IC1Prescaler = TIM_ICPSC_DIV1;
  sConfig.IC1Filter = 0;
  sConfig.IC2Polarity = TIM_ICPOLARITY_RISING;
  sConfig.IC2Selection = TIM_ICSELECTION_DIRECTTI;
  sConfig.IC2Prescaler = TIM_ICPSC_DIV1;
  sConfig.IC2Filter = 0;
  if (HAL_TIM_Encoder_Init(&htim8, &sConfig) != HAL_OK)
  {
    Error_Handler();
  }
  sMasterConfig.MasterOutputTrigger = TIM_TRGO_RESET;
  sMasterConfig.MasterSlaveMode = TIM_MASTERSLAVEMODE_DISABLE;
  if (HAL_TIMEx_MasterConfigSynchronization(&htim8, &sMasterConfig) != HAL_OK)
  {
    Error_Handler();
  }

}

static void MX_TIM10_Init(void)
{

  TIM_OC_InitTypeDef sConfigOC = {0};

  htim10.Instance = TIM10;
  htim10.Init.Prescaler = 1;
  htim10.Init.CounterMode = TIM_COUNTERMODE_UP;
  htim10.Init.Period = 8999;
  htim10.Init.ClockDivision = TIM_CLOCKDIVISION_DIV1;
  htim10.Init.AutoReloadPreload = TIM_AUTORELOAD_PRELOAD_DISABLE;
  if (HAL_TIM_Base_Init(&htim10) != HAL_OK)
  {
    Error_Handler();
  }
  if (HAL_TIM_PWM_Init(&htim10) != HAL_OK)
  {
    Error_Handler();
  }
  sConfigOC.OCMode = TIM_OCMODE_PWM1;
  sConfigOC.Pulse = 0;
  sConfigOC.OCPolarity = TIM_OCPOLARITY_HIGH;
  sConfigOC.OCFastMode = TIM_OCFAST_DISABLE;
  if (HAL_TIM_PWM_ConfigChannel(&htim10, &sConfigOC, TIM_CHANNEL_1) != HAL_OK)
  {
    Error_Handler();
  }
  HAL_TIM_MspPostInit(&htim10);

}

static void MX_TIM11_Init(void)
{

  TIM_OC_InitTypeDef sConfigOC = {0};

  htim11.Instance = TIM11;
  htim11.Init.Prescaler = 1;
  htim11.Init.CounterMode = TIM_COUNTERMODE_UP;
  htim11.Init.Period = 8999;
  htim11.Init.ClockDivision = TIM_CLOCKDIVISION_DIV1;
  htim11.Init.AutoReloadPreload = TIM_AUTORELOAD_PRELOAD_DISABLE;
  if (HAL_TIM_Base_Init(&htim11) != HAL_OK)
  {
    Error_Handler();
  }
  if (HAL_TIM_PWM_Init(&htim11) != HAL_OK)
  {
    Error_Handler();
  }
  sConfigOC.OCMode = TIM_OCMODE_PWM1;
  sConfigOC.Pulse = 0;
  sConfigOC.OCPolarity = TIM_OCPOLARITY_HIGH;
  sConfigOC.OCFastMode = TIM_OCFAST_DISABLE;
  if (HAL_TIM_PWM_ConfigChannel(&htim11, &sConfigOC, TIM_CHANNEL_1) != HAL_OK)
  {
    Error_Handler();
  }
  HAL_TIM_MspPostInit(&htim11);

}

static void MX_TIM13_Init(void)
{

  htim13.Instance = TIM13;
  htim13.Init.Prescaler = 89;
  htim13.Init.CounterMode = TIM_COUNTERMODE_UP;
  htim13.Init.Period = 9999;
  htim13.Init.ClockDivision = TIM_CLOCKDIVISION_DIV1;
  htim13.Init.AutoReloadPreload = TIM_AUTORELOAD_PRELOAD_ENABLE;
  if (HAL_TIM_Base_Init(&htim13) != HAL_OK)
  {
    Error_Handler();
  }

}

static void MX_USART2_UART_Init(void)
{

  huart2.Instance = USART2;
  huart2.Init.BaudRate = 115200;
  huart2.Init.WordLength = UART_WORDLENGTH_8B;
  huart2.Init.StopBits = UART_STOPBITS_1;
  huart2.Init.Parity = UART_PARITY_NONE;
  huart2.Init.Mode = UART_MODE_TX_RX;
  huart2.Init.HwFlowCtl = UART_HWCONTROL_NONE;
  huart2.Init.OverSampling = UART_OVERSAMPLING_16;
  if (HAL_UART_Init(&huart2) != HAL_OK)
  {
    Error_Handler();
  }

}

static void MX_DMA_Init(void)
{

  /* DMA controller clock enable */
  __HAL_RCC_DMA2_CLK_ENABLE();

  /* DMA interrupt init */
  /* DMA2_Stream2_IRQn interrupt configuration */
  HAL_NVIC_SetPriority(DMA2_Stream2_IRQn, 0, 0);
  HAL_NVIC_EnableIRQ(DMA2_Stream2_IRQn);
  /* DMA2_Stream3_IRQn interrupt configuration */
  HAL_NVIC_SetPriority(DMA2_Stream3_IRQn, 0, 0);
  HAL_NVIC_EnableIRQ(DMA2_Stream3_IRQn);
  /* DMA2_Stream6_IRQn interrupt configuration */
  HAL_NVIC_SetPriority(DMA2_Stream6_IRQn, 0, 0);
  HAL_NVIC_EnableIRQ(DMA2_Stream6_IRQn);

}

static void MX_GPIO_Init(void)
{
  GPIO_InitTypeDef GPIO_InitStruct = {0};

  /* GPIO Ports Clock Enable */
  __HAL_RCC_GPIOE_CLK_ENABLE();
  __HAL_RCC_GPIOH_CLK_ENABLE();
  __HAL_RCC_GPIOC_CLK_ENABLE();
  __HAL_RCC_GPIOA_CLK_ENABLE();
  __HAL_RCC_GPIOB_CLK_ENABLE();
  __HAL_RCC_GPIOD_CLK_ENABLE();

  /*Configure GPIO pin Output Level */
  HAL_GPIO_WritePin(GPIOE, GPIO_PIN_14, GPIO_PIN_RESET);

  /*Configure GPIO pin Output Level */
  HAL_GPIO_WritePin(GPIOB, GPIO_PIN_12, GPIO_PIN_RESET);

  /*Configure GPIO pin Output Level */
  HAL_GPIO_WritePin(GPIOD, GPIO_PIN_9|GPIO_PIN_10, GPIO_PIN_RESET);

  /*Configure GPIO pin Output Level */
  HAL_GPIO_WritePin(GPIOA, GPIO_PIN_8|GPIO_PIN_9|GPIO_PIN_10|GPIO_PIN_11
                          |GPIO_PIN_12, GPIO_PIN_RESET);

  /*Configure GPIO pin : PE2 */
  GPIO_InitStruct.Pin = GPIO_PIN_2;
  GPIO_InitStruct.Mode = GPIO_MODE_IT_RISING_FALLING;
  GPIO_InitStruct.Pull = GPIO_NOPULL;
  HAL_GPIO_Init(GPIOE, &GPIO_InitStruct);

  /*Configure GPIO pins : PC0 PC1 PC2 PC3 */
  GPIO_InitStruct.Pin = GPIO_PIN_0|GPIO_PIN_1|GPIO_PIN_2|GPIO_PIN_3;
  GPIO_InitStruct.Mode = GPIO_MODE_ANALOG;
  GPIO_InitStruct.Pull = GPIO_NOPULL;
  HAL_GPIO_Init(GPIOC, &GPIO_InitStruct);

  /*Configure GPIO pins : PA0 PA5 PA6 PA7 */
  GPIO_InitStruct.Pin = GPIO_PIN_0|GPIO_PIN_5|GPIO_PIN_6|GPIO_PIN_7;
  GPIO_InitStruct.Mode = GPIO_MODE_ANALOG;
  GPIO_InitStruct.Pull = GPIO_NOPULL;
  HAL_GPIO_Init(GPIOA, &GPIO_InitStruct);

  /*Configure GPIO pins : PB0 PB1 */
  GPIO_InitStruct.Pin = GPIO_PIN_0|GPIO_PIN_1;
  GPIO_InitStruct.Mode = GPIO_MODE_ANALOG;
  GPIO_InitStruct.Pull = GPIO_NOPULL;
  HAL_GPIO_Init(GPIOB, &GPIO_InitStruct);

  /*Configure GPIO pin : PB2 */
  GPIO_InitStruct.Pin = GPIO_PIN_2;
  GPIO_InitStruct.Mode = GPIO_MODE_INPUT;
  GPIO_InitStruct.Pull = GPIO_PULLUP;
  HAL_GPIO_Init(GPIOB, &GPIO_InitStruct);

  /*Configure GPIO pins : PE7 PE8 PE10 */
  GPIO_InitStruct.Pin = GPIO_PIN_7|GPIO_PIN_8|GPIO_PIN_10;
  GPIO_InitStruct.Mode = GPIO_MODE_INPUT;
  GPIO_InitStruct.Pull = GPIO_PULLUP;
  HAL_GPIO_Init(GPIOE, &GPIO_InitStruct);

  /*Configure GPIO pin : PE14 */
  GPIO_InitStruct.Pin = GPIO_PIN_14;
  GPIO_InitStruct.Mode = GPIO_MODE_OUTPUT_PP;
  GPIO_InitStruct.Pull = GPIO_NOPULL;
  GPIO_InitStruct.Speed = GPIO_SPEED_FREQ_LOW;
  HAL_GPIO_Init(GPIOE, &GPIO_InitStruct);

  /*Configure GPIO pin : PB12 */
  GPIO_InitStruct.Pin = GPIO_PIN_12;
  GPIO_InitStruct.Mode = GPIO_MODE_OUTPUT_PP;
  GPIO_InitStruct.Pull = GPIO_NOPULL;
  GPIO_InitStruct.Speed = GPIO_SPEED_FREQ_LOW;
  HAL_GPIO_Init(GPIOB, &GPIO_InitStruct);

  /*Configure GPIO pin : PD8 */
  GPIO_InitStruct.Pin = GPIO_PIN_8;
  GPIO_InitStruct.Mode = GPIO_MODE_IT_RISING_FALLING;
  GPIO_InitStruct.Pull = GPIO_NOPULL;
  HAL_GPIO_Init(GPIOD, &GPIO_InitStruct);

  /*Configure GPIO pin : PD9 */
  GPIO_InitStruct.Pin = GPIO_PIN_9;
  GPIO_InitStruct.Mode = GPIO_MODE_OUTPUT_PP;
  GPIO_InitStruct.Pull = GPIO_NOPULL;
  GPIO_InitStruct.Speed = GPIO_SPEED_FREQ_LOW;
  HAL_GPIO_Init(GPIOD, &GPIO_InitStruct);

  /*Configure GPIO pin : PD10 */
  GPIO_InitStruct.Pin = GPIO_PIN_10;
  GPIO_InitStruct.Mode = GPIO_MODE_OUTPUT_PP;
  GPIO_InitStruct.Pull = GPIO_PULLUP;
  GPIO_InitStruct.Speed = GPIO_SPEED_FREQ_LOW;
  HAL_GPIO_Init(GPIOD, &GPIO_InitStruct);

  /*Configure GPIO pins : PA8 PA9 PA10 PA11
                           PA12 */
  GPIO_InitStruct.Pin = GPIO_PIN_8|GPIO_PIN_9|GPIO_PIN_10|GPIO_PIN_11
                          |GPIO_PIN_12;
  GPIO_InitStruct.Mode = GPIO_MODE_OUTPUT_PP;
  GPIO_InitStruct.Pull = GPIO_NOPULL;
  GPIO_InitStruct.Speed = GPIO_SPEED_FREQ_LOW;
  HAL_GPIO_Init(GPIOA, &GPIO_InitStruct);

  /*Configure GPIO pin : PA15 */
  GPIO_InitStruct.Pin = GPIO_PIN_15;
  GPIO_InitStruct.Mode = GPIO_MODE_INPUT;
  GPIO_InitStruct.Pull = GPIO_NOPULL;
  HAL_GPIO_Init(GPIOA, &GPIO_InitStruct);

  /*Configure GPIO pins : PD0 PD1 PD3 PD4
                           PD7 */
  GPIO_InitStruct.Pin = GPIO_PIN_0|GPIO_PIN_1|GPIO_PIN_3|GPIO_PIN_4
                          |GPIO_PIN_7;
  GPIO_InitStruct.Mode = GPIO_MODE_INPUT;
  GPIO_InitStruct.Pull = GPIO_PULLUP;
  HAL_GPIO_Init(GPIOD, &GPIO_InitStruct);

  /* EXTI interrupt init*/
  HAL_NVIC_SetPriority(EXTI2_IRQn, 0, 0);
  HAL_NVIC_EnableIRQ(EXTI2_IRQn);

  HAL_NVIC_SetPriority(EXTI9_5_IRQn, 0, 0);
  HAL_NVIC_EnableIRQ(EXTI9_5_IRQn);

}

void Error_Handler(void)
{
  __disable_irq();
  while (1)
  {
  }
}

/************************ (C) COPYRIGHT STMicroelectronics *****END OF FILE****/
